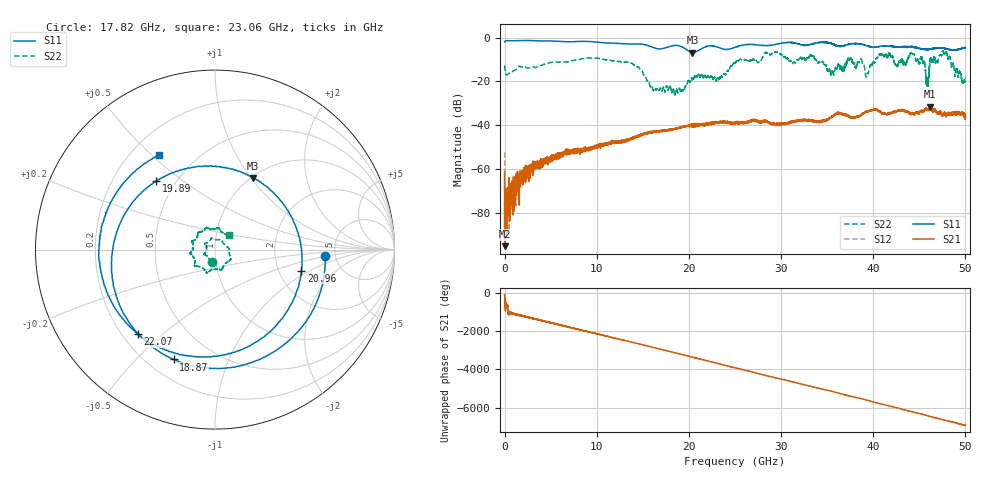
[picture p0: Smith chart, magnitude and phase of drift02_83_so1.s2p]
!Created with skrf (http://scikit-rf.org).
# Hz S RI R 50.0
!freq ReS11 ImS11 ReS21 ImS21 ReS12 ImS12 ReS22 ImS22
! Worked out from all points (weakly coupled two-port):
!   10001 points, 300 kHz to 50 GHz, reference 50 ohm
!   highest |S21| = -31.57 dB at 46.17 GHz (marker M1); lowest = -95.3 dB at 55.3 MHz (marker M2)
!   lowest |S11| = -6.9 dB at 20.38 GHz (marker M3), VSWR 2.65, Z = 50.8 + j51 ohm
!   |S11| at or under -10 dB: nowhere
!   |S22| runs from -26.7 to -6.1 dB; largest |S21 - S12| = 0.0035
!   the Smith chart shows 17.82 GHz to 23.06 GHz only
!   S11 on the Smith chart (normalised r, x): 17.82 GHz: 4.15, -0.48; 18.87 GHz: 0.30, -0.65; 19.89 GHz: 0.39, +0.40; 20.96 GHz: 2.67, -0.83; 22.07 GHz: 0.26, -0.41; 23.06 GHz: 0.31, +0.53
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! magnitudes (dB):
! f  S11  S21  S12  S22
! 300 kHz  -2.1  -61.5  -52.4  -12.8
! 55.3 MHz  -1.6  -95.3  -75.6  -15.1
! 255.3 MHz  -1.4  -71.3  -91.1  -17.0
! 2.96 GHz  -1.4  -60.1  -61.5  -13.6
! 8.335 GHz  -1.7  -51.9  -51.6  -9.7
! 13.71 GHz  -3.0  -46.1  -46.4  -11.7
! 16.67 GHz  -5.2  -42.7  -42.9  -23.8
! 17.82 GHz  -4.2  -42.1  -42.3  -23.2
! 18.87 GHz  -3.7  -41.2  -41.2  -24.2
! 19.89 GHz  -6.0  -40.6  -40.3  -20.2
! 20.38 GHz  -6.9  -40.3  -39.8  -19.0
! 20.96 GHz  -6.1  -40.3  -39.6  -17.0
! 22.07 GHz  -3.9  -39.9  -39.6  -17.4
! 23.06 GHz  -4.3  -38.6  -38.5  -18.9
! 25 GHz  -4.5  -39.0  -39.0  -11.6
! 33.34 GHz  -3.0  -38.0  -37.9  -8.4
! 39.33 GHz  -3.8  -33.9  -33.6  -16.6
! 41.67 GHz  -3.9  -34.6  -34.8  -7.6
! 45.87 GHz  -5.4  -33.1  -33.2  -20.7
! 46.17 GHz  -5.3  -31.6  -31.8  -11.3
! 47.74 GHz  -5.0  -35.1  -34.7  -7.2
! 50 GHz  -4.6  -35.6  -35.5  -18.6
